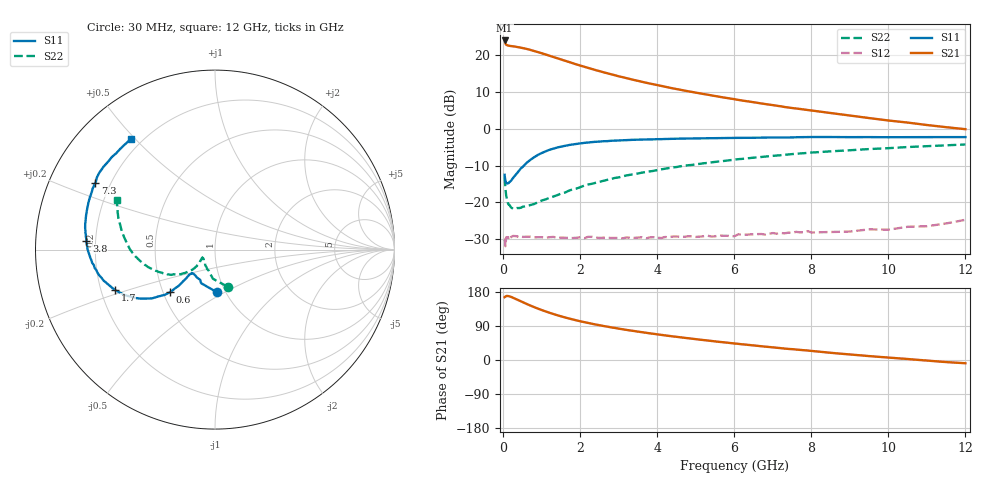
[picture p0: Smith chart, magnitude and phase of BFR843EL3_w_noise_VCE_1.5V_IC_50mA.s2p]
! Infineon Technologies  Discrete & RF Semiconductors
! BFR843EL3
! VCE =  1.5 V,  IC =  50 mA
! Common Emitter S-Parameters:  Aug 2013
# GHz  S  MA  R  50
!  f  S11  S21  S12  S22
! GHz  MAG  ANG  MAG  ANG  MAG  ANG  MAG  ANG
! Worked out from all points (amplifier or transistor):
!   103 points, 30 MHz to 12 GHz, reference 50 ohm
!   highest |S21| = 24.1 dB at 30 MHz (marker M1)
!   |S21| within 3 dB of that: start of sweep to 838.4 MHz
!   unconditionally stable (mu >= 1): start of sweep to end of sweep
!   at 400 MHz: K = 1.28, MAG = 22.7 dB, |S12| = -29.5 dB
!   at 3.7 GHz: K = 1.62, MAG = 16.6 dB, |S12| = -29.9 dB
!   at 12 GHz: K = 2.42, MAG = 5.7 dB, |S12| = -24.8 dB
!   lowest NFmin = 1.75 dB at 450 MHz
!   S11 on the Smith chart (normalised r, x): 30 MHz: 0.91, -0.45; 600 MHz: 0.55, -0.29; 1.7 GHz: 0.26, -0.18; 3.8 GHz: 0.16, +0.03; 7.3 GHz: 0.14, +0.25; 12 GHz: 0.16, +0.49
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0.03  0.2363 -87.9  16.02 165.8  0.0294 31.0  0.2173 -71.3
0.04  0.2129 -100.5  15.18 166.5  0.0311 22.8  0.1815 -83.5
0.06  0.1878 -116.0  14.28 168.2  0.0286 25.4  0.1399 -100.3
0.1  0.1802 -130.4  13.77 169.1  0.0332 11.0  0.1054 -118.7
0.15  0.1866 -134.3  13.56 168.2  0.0321 6.2  0.0925 -131.2
0.35  0.2478 -135.2  13.06 159.7  0.0344 4.4  0.0834 -147.4
0.6  0.3434 -136.5  12.29 148.1  0.0339 3.1  0.0886 -145.6
0.8  0.4112 -140.5  11.49 139.4  0.0332 4.0  0.0947 -144.1
1.1  0.4952 -146.5  10.3 128.0  0.0328 3.3  0.1096 -140.3
1.4  0.5577 -152.7  9.162 118.1  0.0326 4.4  0.125 -138.8
1.7  0.6018 -158.1  8.158 109.6  0.0326 5.0  0.1438 -138.0
2.1  0.6445 -164.5  7.023 99.9  0.0323 5.9  0.1687 -138.4
2.4  0.6671 -168.8  6.303 93.5  0.033 8.0  0.1844 -139.9
2.8  0.6881 -173.8  5.539 86.1  0.0326 11.0  0.208 -141.7
3.8  0.7178 176.0  4.145 70.4  0.0332 14.3  0.263 -148.3
4.1  0.7244 173.5  3.849 66.3  0.0325 14.6  0.2809 -149.9
5.1  0.7424 165.5  3.046 53.7  0.034 19.0  0.3337 -157.9
6.1  0.7537 158.6  2.481 42.6  0.0365 24.1  0.386 -165.5
7.3  0.7634 151.0  1.987 30.2  0.0377 26.9  0.4431 -174.8
8.5  0.7739 143.3  1.643 19.0  0.0393 28.9  0.4939 175.5
10.5  0.7706 133.3  1.218 2.6  0.0463 37.5  0.5651 162.2
12  0.7725 127.2  0.99 -8.6  0.0576 42.4  0.6127 153.4
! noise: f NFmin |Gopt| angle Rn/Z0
0.45  1.75  0.3  181  0.13
0.9  1.79  0.32  185  0.13
1.5  1.84  0.34  187  0.12
1.9  1.87  0.35  -172  0.12
2.4  1.91  0.38  192  0.12
3.5  1.98  0.41  198  0.13
5.5  2.11  0.47  207  0.12
8  2.27  0.57  219  0.18
10  2.39  0.6  234  0.37
